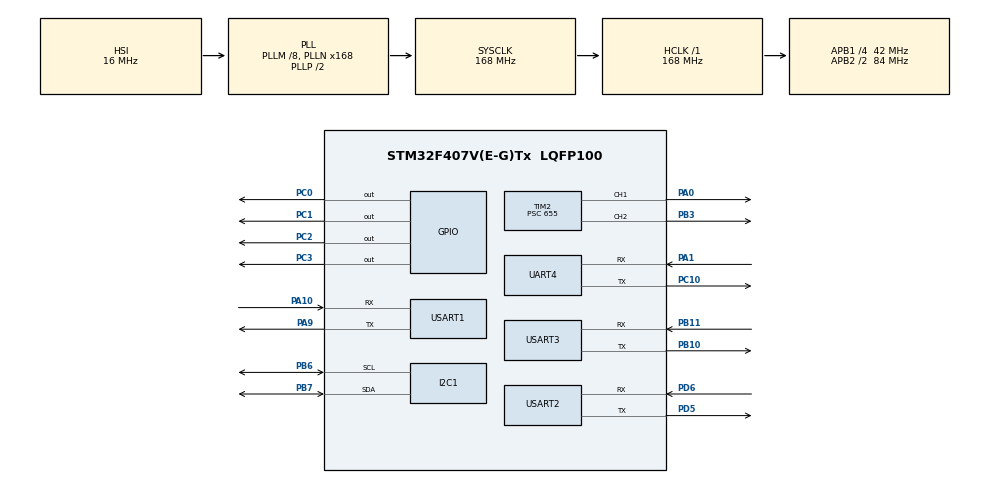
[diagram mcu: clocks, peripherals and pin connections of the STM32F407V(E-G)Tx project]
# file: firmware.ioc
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Dma.Request0=USART3_RX
Dma.USART3_RX.0.Direction=DMA_PERIPH_TO_MEMORY
Dma.USART3_RX.0.FIFOMode=DMA_FIFOMODE_DISABLE
Dma.USART3_RX.0.Instance=DMA1_Stream1
Dma.USART3_RX.0.MemDataAlignment=DMA_MDATAALIGN_BYTE
Dma.USART3_RX.0.MemInc=DMA_MINC_ENABLE
Dma.USART3_RX.0.Mode=DMA_CIRCULAR
Dma.USART3_RX.0.PeriphDataAlignment=DMA_PDATAALIGN_BYTE
Dma.USART3_RX.0.PeriphInc=DMA_PINC_DISABLE
Dma.USART3_RX.0.Priority=DMA_PRIORITY_LOW
Mcu.Family=STM32F4
Mcu.Name=STM32F407V(E-G)Tx
Mcu.Package=LQFP100
NVIC.DMA1_Stream1_IRQn=true\:0\:0\:false\:false\:true\:false\:true\:true
NVIC.PriorityGroup=NVIC_PRIORITYGROUP_4
NVIC.TIM4_IRQn=true\:0\:0\:false\:false\:true\:true\:true\:true
NVIC.UART4_IRQn=true\:0\:0\:false\:false\:true\:true\:true\:true
NVIC.USART1_IRQn=true\:0\:0\:false\:false\:true\:true\:true\:true
NVIC.USART3_IRQn=true\:0\:0\:false\:false\:true\:true\:true\:true
PA0-WKUP.Signal=S_TIM2_CH1_ETR
PA1.Mode=Asynchronous
PA1.Signal=UART4_RX
PA10.Mode=Asynchronous
PA10.Signal=USART1_RX
PA13.Mode=Serial_Wire
PA13.Signal=SYS_JTMS-SWDIO
PA14.Mode=Serial_Wire
PA14.Signal=SYS_JTCK-SWCLK
PA9.Mode=Asynchronous
PA9.Signal=USART1_TX
PB10.Mode=Asynchronous
PB10.Signal=USART3_TX
PB11.Mode=Asynchronous
PB11.Signal=USART3_RX
PB3.Signal=S_TIM2_CH2
PB6.Mode=I2C
PB6.Signal=I2C1_SCL
PB7.Mode=I2C
PB7.Signal=I2C1_SDA
PC0.Signal=GPIO_Output
PC1.Signal=GPIO_Output
PC10.Mode=Asynchronous
PC10.Signal=UART4_TX
PC2.Signal=GPIO_Output
PC3.Signal=GPIO_Output
PD5.Mode=Asynchronous
PD5.Signal=USART2_TX
PD6.Mode=Asynchronous
PD6.Signal=USART2_RX
PH0-OSC_IN.Mode=HSE-External-Oscillator
PH0-OSC_IN.Signal=RCC_OSC_IN
PH1-OSC_OUT.Mode=HSE-External-Oscillator
PH1-OSC_OUT.Signal=RCC_OSC_OUT
ProjectManager.HeapSize=0x200
ProjectManager.StackSize=0x400
ProjectManager.TargetToolchain=STM32CubeIDE
RCC.48MHZClocksFreq_Value=84000000
RCC.AHBFreq_Value=168000000
RCC.APB1CLKDivider=RCC_HCLK_DIV4
RCC.APB1Freq_Value=42000000
RCC.APB1TimFreq_Value=84000000
RCC.APB2CLKDivider=RCC_HCLK_DIV2
RCC.APB2Freq_Value=84000000
RCC.APB2TimFreq_Value=168000000
RCC.CortexFreq_Value=168000000
RCC.HCLKFreq_Value=168000000
RCC.HSE_VALUE=8000000
RCC.HSI_VALUE=16000000
RCC.LSE_VALUE=32768
RCC.PLLM=8
RCC.PLLN=168
RCC.SYSCLKFreq_VALUE=168000000
RCC.SYSCLKSource=RCC_SYSCLKSOURCE_PLLCLK
RCC.VCOOutputFreq_Value=336000000
SH.S_TIM2_CH1_ETR.0=TIM2_CH1,PWM Generation1 CH1
SH.S_TIM2_CH2.0=TIM2_CH2,PWM Generation2 CH2
TIM2.AutoReloadPreload=TIM_AUTORELOAD_PRELOAD_ENABLE
TIM2.Channel-PWM\ Generation1\ CH1=TIM_CHANNEL_1
TIM2.Channel-PWM\ Generation2\ CH2=TIM_CHANNEL_2
TIM2.Period=255
TIM2.Prescaler=655
TIM4.Period=9999
TIM4.Prescaler=83
UART4.VirtualMode=Asynchronous
USART1.VirtualMode=VM_ASYNC
USART2.VirtualMode=VM_ASYNC
USART3.VirtualMode=VM_ASYNC
VP_CRC_VS_CRC.Mode=CRC_Activate
VP_TIM2_VS_ClockSourceINT.Mode=Internal
VP_TIM4_VS_ClockSourceINT.Mode=Internal
board=custom

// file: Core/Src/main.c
/* USER CODE BEGIN Header */
/**
 ******************************************************************************
 * @file           : main.c
 * @brief          : Main program body
 ******************************************************************************
 * @attention
 *
 * Copyright (c) 2026 STMicroelectronics.
 * All rights reserved.
 *
 * This software is licensed under terms that can be found in the LICENSE file
 * in the root directory of this software component.
 * If no LICENSE file comes with this software, it is provided AS-IS.
 *
 ******************************************************************************
 */
/* USER CODE END Header */
#include "main.h"
#include "crc.h"
#include "dma.h"
#include "i2c.h"
#include "tim.h"
#include "usart.h"
#include "gpio.h"

/* USER CODE BEGIN Includes */
#include "sensor_types.h"
#include "bme280.h"
#include "imu.h"
#include "blt.h"
#include "mode.h"
#include "motor.h"
/* USER CODE END Includes */

/* USER CODE BEGIN PV */
extern uint8_t is_straight_requested;
extern uint8_t target_speed;
extern uint8_t target_dir;

// raspi 통신
static char rpi_str_buf[20];
volatile uint8_t rpi_cmd = 0;
volatile uint8_t rpi_state = 0;
volatile uint8_t rpi_str_idx = 0;
volatile uint8_t rpi_rx_buf = 0;
volatile uint8_t rpi_data_ready = 0;

/* USER CODE END PV */

void SystemClock_Config(void);
/* USER CODE BEGIN PFP */
void RPI_ProcessByte(uint8_t rx_data);
/* USER CODE END PFP */

int main(void) {

	/* MCU Configuration--------------------------------------------------------*/

	/* Reset of all peripherals, Initializes the Flash interface and the Systick. */
	HAL_Init();

	/* Configure the system clock */
	SystemClock_Config();

	/* Initialize all configured peripherals */

	MX_GPIO_Init();
	MX_DMA_Init();
	MX_TIM2_Init();
	MX_I2C1_Init();
	MX_USART2_UART_Init();
	MX_USART3_UART_Init();
	MX_USART1_UART_Init();
	MX_UART4_Init();
	MX_CRC_Init();
	MX_TIM4_Init();
	/* USER CODE BEGIN 2 */
	BME280_Init();
	IMU_Init();
	Motor_Init();
	BLT_Init();
	Motor_PID_Init(0.0f, 0.0f, 0.0f); // PID 튜닝위해 초기값 설정
	HAL_TIM_Base_Start_IT(&htim4);

	/* USER CODE END 2 */

	/* Infinite loop */
	while (1) {

		/* USER CODE BEGIN 3 */
		IMU_ReadData();
		BME280_Process();
		IMU_Process();

		if (rpi_data_ready && current_robot_mode == MODE_TRACKING) {
			char *str = rpi_str_buf + 1; // 't' 제외
			float new_target;

//			 sscanf는 메인 루프에서 실행하여 인터럽트 지연 방지
			sscanf(str, "%f,%hhu", &new_target, &rpi_stop_flag);
//			노이즈 필터링 (이전 타겟 80% 유지, 새 타겟 20%만 반영)
			motor_pid.target_yaw = (motor_pid.target_yaw * 0.8f)
					+ (new_target * 0.2f);
			rpi_data_ready = 0;
		}
	}
	/* USER CODE END 3 */
}

void SystemClock_Config(void) {
	RCC_OscInitTypeDef RCC_OscInitStruct = { 0 };
	RCC_ClkInitTypeDef RCC_ClkInitStruct = { 0 };

	/** Configure the main internal regulator output voltage
	 */
	__HAL_RCC_PWR_CLK_ENABLE();
	__HAL_PWR_VOLTAGESCALING_CONFIG(PWR_REGULATOR_VOLTAGE_SCALE1);

	/** Initializes the RCC Oscillators according to the specified parameters
	 * in the RCC_OscInitTypeDef structure.
	 */
	RCC_OscInitStruct.OscillatorType = RCC_OSCILLATORTYPE_HSI;
	RCC_OscInitStruct.HSIState = RCC_HSI_ON;
	RCC_OscInitStruct.HSICalibrationValue = RCC_HSICALIBRATION_DEFAULT;
	RCC_OscInitStruct.PLL.PLLState = RCC_PLL_ON;
	RCC_OscInitStruct.PLL.PLLSource = RCC_PLLSOURCE_HSI;
	RCC_OscInitStruct.PLL.PLLM = 8;
	RCC_OscInitStruct.PLL.PLLN = 168;
	RCC_OscInitStruct.PLL.PLLP = RCC_PLLP_DIV2;
	RCC_OscInitStruct.PLL.PLLQ = 4;
	if (HAL_RCC_OscConfig(&RCC_OscInitStruct) != HAL_OK) {
		Error_Handler();
	}

	/** Initializes the CPU, AHB and APB buses clocks
	 */
	RCC_ClkInitStruct.ClockType = RCC_CLOCKTYPE_HCLK | RCC_CLOCKTYPE_SYSCLK
			| RCC_CLOCKTYPE_PCLK1 | RCC_CLOCKTYPE_PCLK2;
	RCC_ClkInitStruct.SYSCLKSource = RCC_SYSCLKSOURCE_PLLCLK;
	RCC_ClkInitStruct.AHBCLKDivider = RCC_SYSCLK_DIV1;
	RCC_ClkInitStruct.APB1CLKDivider = RCC_HCLK_DIV4;
	RCC_ClkInitStruct.APB2CLKDivider = RCC_HCLK_DIV2;

	if (HAL_RCC_ClockConfig(&RCC_ClkInitStruct, FLASH_LATENCY_5) != HAL_OK) {
		Error_Handler();
	}
}

/* USER CODE BEGIN 4 */
void HAL_UART_RxCpltCallback(UART_HandleTypeDef *huart) {
	if (huart->Instance == USART3) {
//      IMU_Init();
	} else if (huart->Instance == UART4) {
		BLT_ProcessPacket();
	} else if (huart->Instance == USART1) {
		RPI_ProcessByte(rpi_rx_buf);
		HAL_UART_Receive_IT(&huart1, (uint8_t*) &rpi_rx_buf, 1);
	}
}

void HAL_TIM_PeriodElapsedCallback(TIM_HandleTypeDef *htim) {
	if (htim->Instance == TIM4) {
		static float last_yaw = 0.0f;

		// 20ms마다 현재 모드 판별 및 즉각적인 모터 출력 실행
		Process_By_Mode(imu_data.yaw_f, last_yaw);

		last_yaw = imu_data.yaw_f;
	}
}

// 별도 함수로 분리하여 가독성 및 관리 효율 증대
void RPI_ProcessByte(uint8_t rx_data) {
	switch (rpi_state) {
	case 0:
		if (rx_data == 0xAA)
			rpi_state = 1;
		else if (rx_data == 't') {
			rpi_str_idx = 0;
			rpi_str_buf[rpi_str_idx++] = 't';
			rpi_state = 3;
		}
		break;
	case 1:
		rpi_cmd = rx_data;
		rpi_state = 2;
		break;
	case 2:
		if (rx_data == 0x55) {
			if (rpi_cmd == 0x0A)
				BME280_RxCallback();
			else if (rpi_cmd == 0x0B)
				IMU_RxCallback_RPI();
		}
		rpi_state = 0;
		break;
	case 3:
		if (rx_data == '\n') {
			rpi_str_buf[rpi_str_idx] = '\0';
			rpi_data_ready = 1;
			rpi_state = 0;
		} else {
			if (rpi_str_idx < sizeof(rpi_str_buf) - 1)
				rpi_str_buf[rpi_str_idx++] = rx_data;
		}
		break;
	}
}

/* USER CODE END 4 */

void Error_Handler(void) {
	__disable_irq();
	while (1) {
	}
}
